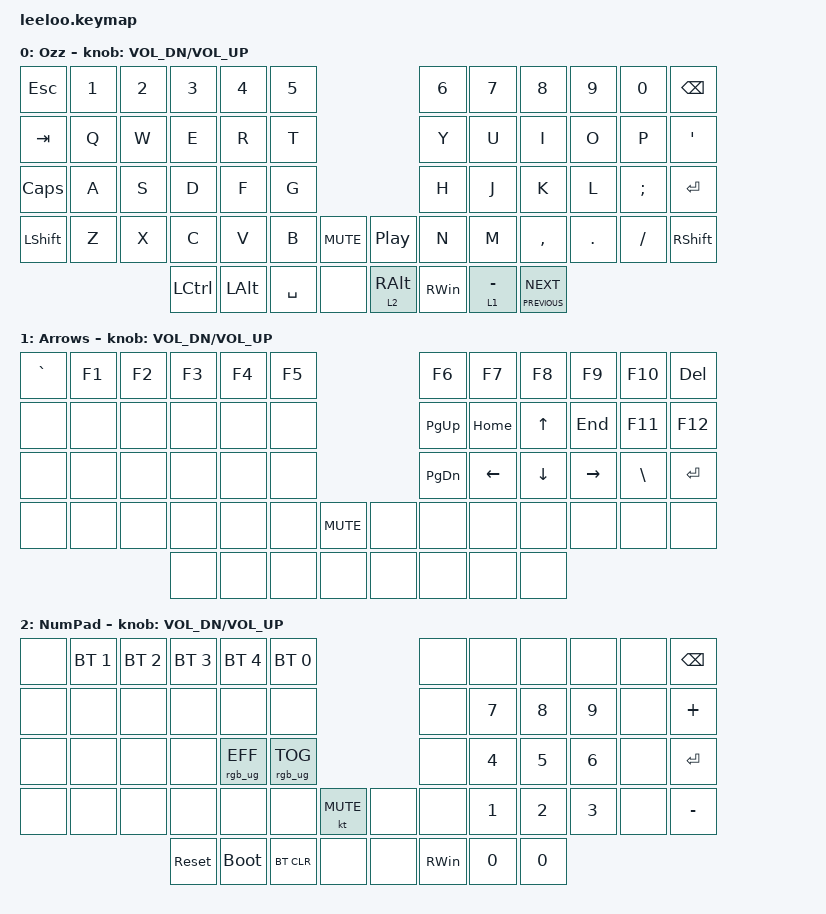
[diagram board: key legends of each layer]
/*
 * Copyright (c) 2023 The ZMK Contributors
 *
 * SPDX-License-Identifier: MIT
 */

#include <behaviors.dtsi>
#include <dt-bindings/zmk/bt.h>
#include <dt-bindings/zmk/keys.h>
#include <dt-bindings/zmk/keys.h>
#include <dt-bindings/zmk/rgb.h>

// Layers

#define QW_M    0       // QWERTY
#define QW_L    1       // Lower
#define QW_R    2       // Raise

// Short versions

#define WIN_SC  LG(LS(S))
#define BT0     BT_SEL 0
#define BT1     BT_SEL 1
#define BT2     BT_SEL 2
#define BT3     BT_SEL 3
#define BT4     BT_SEL 4
#define BOOTLDR     &bootloader
#define VOLUP   C_VOL_UP
#define VOLDN   C_VOL_DN
#define VOLMT   C_MUTE
#define RGBON   &rgb_ug RGB_ON
#define RGBOFF  &rgb_ug RGB_OFF
#define RGBTOG  &rgb_ug RGB_TOG
#define RGBHUI  &rgb_ug RGB_HUI
#define RGBHUD  &rgb_ug RGB_HUD
#define RGBSAI  &rgb_ug RGB_SAI
#define RGBSAD  &rgb_ug RGB_SAD
#define RGBBRI  &rgb_ug RGB_BRI
#define RGBBRD  &rgb_ug RGB_BRD
#define RGBEFF  &rgb_ug RGB_EFF

/*
 * Assign the cs-gpios pin to 4.
 * Uncomment these next few lines if implementing nice!view Displays
 */

nice_view_spi: &spi0 { cs-gpios = <&pro_micro 4 GPIO_ACTIVE_HIGH>; };

/ {
    conditional_layers {
        compatible = "zmk,conditional-layers";

        adjust_win_layer {
            if-layers = <1 2>;
            then-layer = <3>;
        };
    };

    keymap {
        compatible = "zmk,keymap";

        default_win_layer {
            display-name = "Ozz";
            bindings = <
&kp ESC    &kp N1  &kp N2  &kp N3     &kp N4    &kp N5                                  &kp N6         &kp N7       &kp N8                 &kp N9   &kp N0    &kp BACKSPACE
&kp TAB    &kp Q   &kp W   &kp E      &kp R     &kp T                                   &kp Y          &kp U        &kp I                  &kp O    &kp P     &kp SINGLE_QUOTE
&kp CAPS   &kp A   &kp S   &kp D      &kp F     &kp G                                   &kp H          &kp J        &kp K                  &kp L    &kp SEMI  &kp ENTER
&kp LSHFT  &kp Z   &kp X   &kp C      &kp V     &kp B      &kp K_MUTE  &kp C_PP         &kp N          &kp M        &kp COMMA              &kp DOT  &kp FSLH  &kp RSHFT
                           &kp LCTRL  &kp LALT  &kp SPACE  &none       &lt 2 RIGHT_ALT  &kp RIGHT_WIN  &lt 1 MINUS  &mt C_PREVIOUS C_NEXT
            >;

            sensor-bindings = <&inc_dec_kp C_VOL_DN C_VOL_UP>;
        };

        lower_win_layer {
            display-name = "Arrows";
            bindings = <
&kp GRAVE  &kp F1  &kp F2  &kp F3  &kp F4  &kp F5                     &kp F6     &kp F7    &kp F8    &kp F9     &kp F10        &kp DEL
&none      &none   &none   &none   &none   &none                      &kp PG_UP  &kp HOME  &kp UP    &kp END    &kp F11        &kp F12
&none      &none   &none   &none   &none   &none                      &kp PG_DN  &kp LEFT  &kp DOWN  &kp RIGHT  &kp BACKSLASH  &kp ENTER
&none      &none   &none   &none   &none   &none   &kp C_MUTE  &none  &none      &none     &none     &none      &none          &none
                           &none   &none   &none   &none       &none  &none      &none     &none
            >;

            sensor-bindings = <&inc_dec_kp C_VOL_DN C_VOL_UP>;
        };

        raise_win_layer {
            display-name = "NumPad";
            bindings = <
&none  &bt BT_SEL 1  &bt BT_SEL 2  &bt BT_SEL 3  &bt BT_SEL 4     &bt BT_SEL 0                        &none          &none         &none         &none         &none  &kp BACKSPACE
&none  &none         &none         &none         &none            &none                               &none          &kp NUMBER_7  &kp NUMBER_8  &kp NUMBER_9  &none  &kp PLUS
&none  &none         &none         &none         &rgb_ug RGB_EFF  &rgb_ug RGB_TOG                     &none          &kp NUMBER_4  &kp NUMBER_5  &kp NUMBER_6  &none  &kp ENTER
&none  &none         &none         &none         &none            &none            &kt C_MUTE  &none  &none          &kp NUMBER_1  &kp NUMBER_2  &kp NUMBER_3  &none  &kp MINUS
                                   &sys_reset    &bootloader      &bt BT_CLR       &none       &none  &kp RIGHT_WIN  &kp NUMBER_0  &kp N0
            >;

            sensor-bindings = <&inc_dec_kp C_VOL_DN C_VOL_UP>;
        };
    };
};
